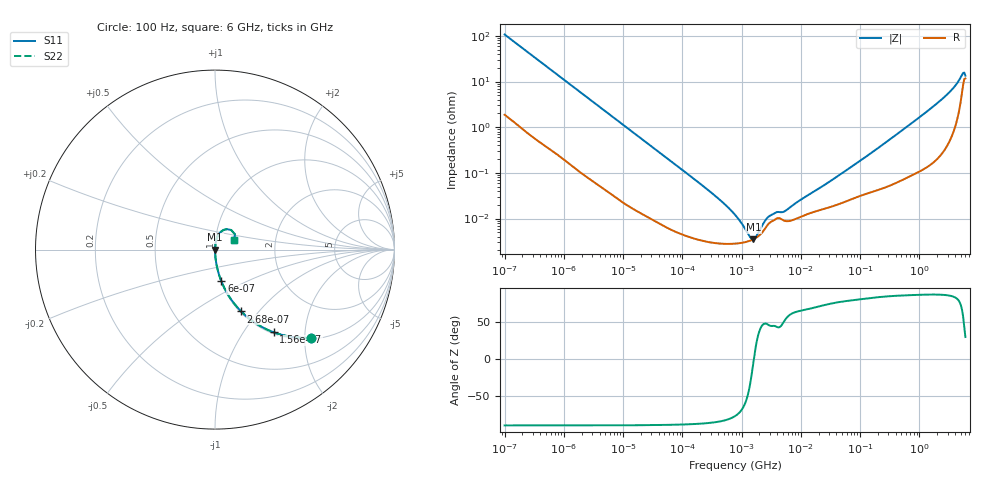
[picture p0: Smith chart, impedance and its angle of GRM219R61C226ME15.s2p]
!Murata Part Number: GRM219R61C226ME15
!These Parameters are Measured in Series Mode Connection
!Data Generated on Mar 30, 2021
!  o--ll--o
!Port1  Port2
!  o------o
!Operation Temp=25[degC], DC Bias Voltage=0[V]
!Freq. Start=100[Hz] Stop=6[GHz] 401[Steps]
# Hz S RI R 50
!Freq.(Hz) S11(Real) S11(Imag) S21(Real) S21(Imag) S12(Real) S12(Imag) S22(Real) S22(Imag)
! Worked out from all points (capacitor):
!   401 points, 100 Hz to 6 GHz, reference 50 ohm
!   read as one part in series: C = 14.7 uF near 109 Hz
!   lowest |Z| = 3.52 mohm at 1.586 MHz (marker M1)
!   series resonance near 1.611 MHz, so ESL is about 660 pH
!   S11 on the Smith chart (normalised r, x): 100 Hz: 1.04, -2.15; 156 Hz: 1.02, -1.38; 268 Hz: 1.01, -0.81; 600 Hz: 1.01, -0.37; 6 GHz: 1.23, +0.13
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100  0.5358 -0.4901  0.4642 0.4901  0.4642 0.4901  0.5358 -0.4901
156  0.326 -0.4603  0.674 0.4603  0.674 0.4603  0.326 -0.4603
268  0.1456 -0.3445  0.8544 0.3445  0.8544 0.3445  0.1456 -0.3445
600  0.0352 -0.1758  0.9648 0.1758  0.9648 0.1758  0.0352 -0.1758
2008  0.00401 -0.0551  0.996 0.0551  0.996 0.0551  0.00401 -0.0551
40335  8.64e-05 -0.00285  0.9999 0.00285  0.9999 0.00285  8.64e-05 -0.00285
330837  2.94e-05 -0.000341  1 0.000341  1 0.000341  2.94e-05 -0.000341
541393  2.79e-05 -0.000194  1 0.000194  1 0.000194  2.79e-05 -0.000194
774597  2.82e-05 -0.000118  1 0.000118  1 0.000118  2.82e-05 -0.000118
926525  2.88e-05 -8.59e-05  1 8.59e-05  1 8.59e-05  2.88e-05 -8.59e-05
1585629  3.51e-05 -2.4e-06  1 2.4e-06  1 2.4e-06  3.51e-05 -2.4e-06
2481164  5.96e-05 6.55e-05  0.9999 -6.55e-05  0.9999 -6.55e-05  5.96e-05 6.55e-05
3712478  9.6e-05 9.33e-05  0.9999 -9.33e-05  0.9999 -9.33e-05  9.6e-05 9.33e-05
5311619  8.94e-05 0.000112  0.9999 -0.000112  0.9999 -0.000112  8.94e-05 0.000112
1.555665e7  0.000136 0.000343  0.9999 -0.000343  0.9999 -0.000343  0.000136 0.000343
5.960426e7  0.000242 0.00113  0.9998 -0.00113  0.9998 -0.00113  0.000242 0.00113
3.124326e8  0.000547 0.00528  0.9995 -0.00528  0.9995 -0.00528  0.000547 0.00528
1.565993e9  0.00218 0.0257  0.9978 -0.0257  0.9978 -0.0257  0.00218 0.0257
3.505958e9  0.0103 0.0641  0.9897 -0.0641  0.9897 -0.0641  0.0103 0.0641
4.586474e9  0.0287 0.0956  0.9713 -0.0956  0.9713 -0.0956  0.0287 0.0956
5.245841e9  0.0662 0.1139  0.9338 -0.1139  0.9338 -0.1139  0.0662 0.1139
6e9  0.108 0.0531  0.892 -0.0531  0.892 -0.0531  0.108 0.0531
